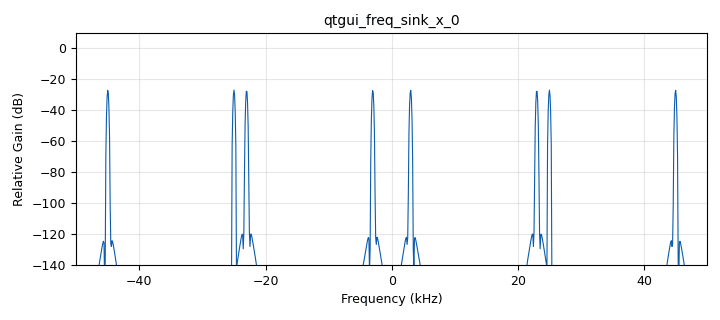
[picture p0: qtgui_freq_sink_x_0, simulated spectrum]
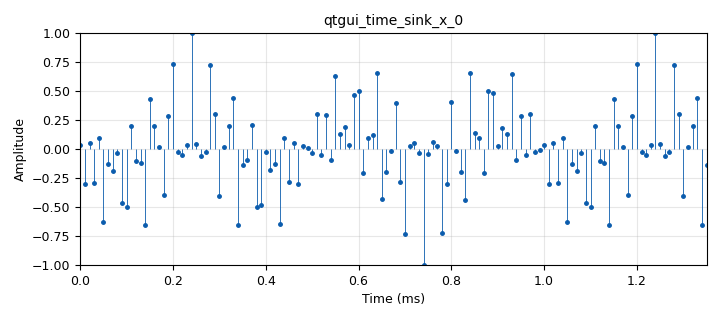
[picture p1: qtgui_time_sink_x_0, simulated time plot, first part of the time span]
options:
  parameters:
    author: G03
    copyright: UIS
    generate_options: qt_gui
    id: Practica1Parte3
    output_language: python
    title: Parte3
  states: {}

blocks:
- name: samp_rate
  id: variable
  parameters:
    value: 100e3
  states: {}
- name: analog_sig_source_x_0
  id: analog_sig_source_x
  parameters:
    amp: '1'
    freq: 11E3
    offset: '0'
    phase: '0'
    samp_rate: samp_rate
    type: float
    waveform: analog.GR_COS_WAVE
  states: {}
- name: analog_sig_source_x_1
  id: analog_sig_source_x
  parameters:
    amp: '1'
    freq: 24e3
    offset: '0'
    phase: '0'
    samp_rate: samp_rate
    type: float
    waveform: analog.GR_COS_WAVE
  states: {}
- name: analog_sig_source_x_2
  id: analog_sig_source_x
  parameters:
    amp: '1'
    freq: 10e3
    offset: '0'
    phase: '0'
    samp_rate: samp_rate
    type: float
    waveform: analog.GR_COS_WAVE
  states: {}
- name: blocks_multiply_xx_0
  id: blocks_multiply_xx
  parameters:
    num_inputs: '3'
    type: float
  states: {}
- name: blocks_throttle_1
  id: blocks_throttle
  parameters:
    samples_per_second: samp_rate
    type: float
  states: {}
- name: qtgui_freq_sink_x_0
  id: qtgui_freq_sink_x
  parameters:
    bw: samp_rate
    ctrlpanel: 'True'
    fc: '0'
    fftsize: '1024'
    grid: 'True'
    type: float
  states: {}
- name: qtgui_time_sink_x_0
  id: qtgui_time_sink_x
  parameters:
    ctrlpanel: 'True'
    grid: 'True'
    size: '1024'
    srate: samp_rate
    stemplot: 'True'
    type: float
  states: {}

connections:
- [analog_sig_source_x_0, '0', blocks_multiply_xx_0, '0']
- [analog_sig_source_x_1, '0', blocks_multiply_xx_0, '1']
- [analog_sig_source_x_2, '0', blocks_multiply_xx_0, '2']
- [blocks_multiply_xx_0, '0', blocks_throttle_1, '0']
- [blocks_throttle_1, '0', qtgui_freq_sink_x_0, '0']
- [blocks_throttle_1, '0', qtgui_time_sink_x_0, '0']

metadata:
  file_format: 1
